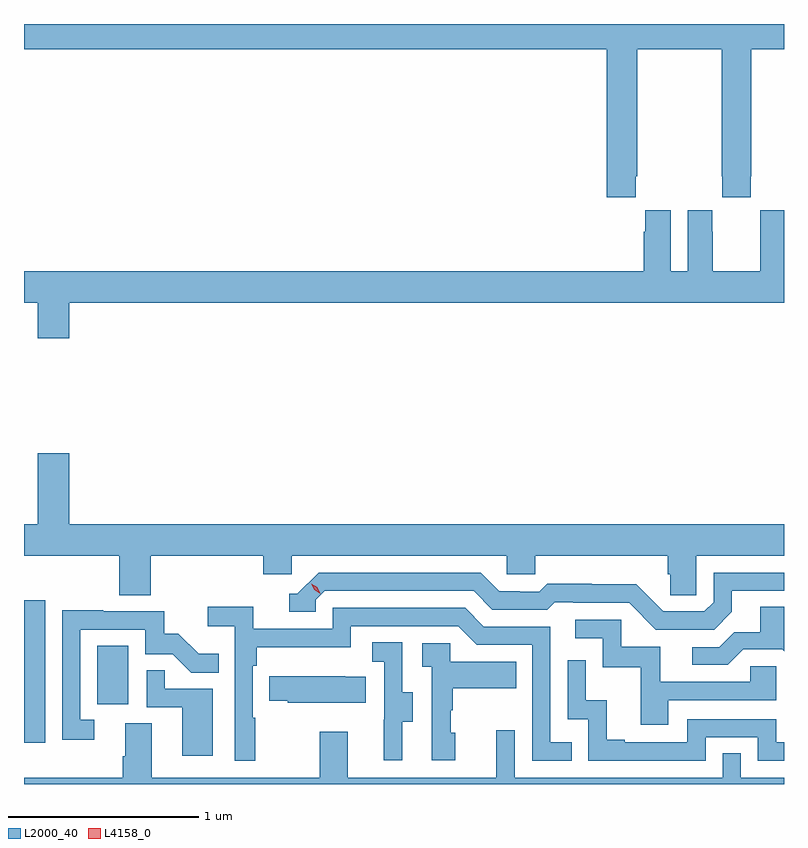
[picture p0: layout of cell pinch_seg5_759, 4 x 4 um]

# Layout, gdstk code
import gdstk
lib = gdstk.Library(unit=1e-6, precision=1e-09)
def R(c, l, rs):  # rectangles x0, y0, x1, y1
    for r in rs: c.add(gdstk.rectangle(r[:2], r[2:], *l))
def P(c, l, *ps):  # polygons
    for p in ps: c.add(gdstk.Polygon(p, *l))
L2000_40 = (2000, 40)
L4158_0 = (4158, 0)

pinch_seg5_759 = lib.new_cell('pinch_seg5_759')
R(pinch_seg5_759, L2000_40, [(836.263,907.722,836.374,908.473), (836.648,907.926,836.812,908.233)])
P(pinch_seg5_759, L2000_40, [(840.263,911.506),(836.263,911.506),(836.263,911.372),(839.33,911.372),(839.33,910.593),(839.483,910.593),(839.483,910.705),(839.49,910.705),(839.49,911.372),(839.935,911.372),(839.935,910.705),(839.937,910.705),(839.937,910.593),(840.087,910.593),(840.087,910.705),(840.09,910.705),(840.09,911.372),(840.263,911.372)],
  [(836.5,910.04),(840.263,910.04),(840.263,910.525),(840.138,910.525),(840.138,910.412),(840.137,910.412),(840.137,910.204),(839.887,910.204),(839.887,910.412),(839.886,910.412),(839.886,910.525),(839.756,910.525),(839.756,910.204),(839.668,910.204),(839.668,910.525),(839.534,910.525),(839.534,910.412),(839.525,910.412),(839.525,910.204),(836.263,910.204),(836.263,910.04),(836.336,910.04),(836.336,909.852),(836.5,909.852)],
  [(836.93,908.708),(837.521,908.708),(837.521,908.61),(837.672,908.61),(837.672,908.708),(838.803,908.708),(838.803,908.61),(838.953,908.61),(838.953,908.708),(839.651,908.708),(839.651,908.61),(839.665,908.61),(839.665,908.5),(839.802,908.5),(839.802,908.708),(840.263,908.708),(840.263,908.872),(836.5,908.872),(836.5,909.247),(836.336,909.247),(836.336,908.872),(836.263,908.872),(836.263,908.708),(836.765,908.708),(836.765,908.5),(836.93,908.5)],
  [(839.989,908.413),(839.989,908.523),(840.263,908.523),(840.263,908.619),(839.892,908.619),(839.892,908.463),(839.844,908.415),(839.628,908.415),(839.486,908.557),(839.25,908.557),(839.25,908.56),(839.017,908.56),(838.975,908.517),(838.872,908.517),(838.872,908.52),(838.765,908.52),(838.666,908.619),(837.813,908.619),(837.702,908.508),(837.659,908.508),(837.659,908.412),(837.798,908.412),(837.798,908.475),(837.846,908.523),(838.629,908.523),(838.728,908.424),(839.017,908.424),(839.056,908.463),(839.155,908.463),(839.155,908.46),(839.448,908.46),(839.589,908.319),(839.895,908.319)],
  [(837.481,907.856),(837.468,907.856),(837.468,908.129),(837.488,908.129),(837.488,908.225),(837.984,908.225),(837.984,908.337),(838.548,908.337),(838.647,908.238),(838.938,908.238),(838.938,907.629),(839.147,907.629),(839.147,907.725),(839.034,907.725),(839.034,908.334),(838.684,908.334),(838.585,908.433),(837.888,908.433),(837.888,908.322),(837.47,908.322),(837.47,908.438),(837.231,908.438),(837.231,908.336),(837.372,908.336),(837.372,907.629),(837.481,907.629)],
  [(840.049,908.214),(840.255,908.214),(840.263,908.206),(840.263,908.438),(840.137,908.438),(840.137,908.306),(840.002,908.306),(839.922,908.226),(839.781,908.226),(839.781,908.133),(839.968,908.133)],
  [(836.632,907.845),(836.559,907.845),(836.559,908.319),(836.901,908.319),(836.901,908.19),(837.046,908.19),(837.144,908.092),(837.287,908.092),(837.287,908.191),(837.183,908.191),(837.076,908.298),(837,908.298),(837,908.415),(836.681,908.415),(836.681,908.42),(836.463,908.42),(836.463,907.74),(836.632,907.74)],
  [(839.653,907.947),(840.222,907.947),(840.222,908.127),(840.085,908.127),(840.085,908.043),(839.611,908.043),(839.611,908.229),(839.406,908.229),(839.406,908.37),(839.163,908.37),(839.163,908.274),(839.31,908.274),(839.31,908.121),(839.509,908.121),(839.509,907.818),(839.653,907.818)],
  [(838.255,907.834),(838.309,907.834),(838.309,907.989),(838.254,907.989),(838.254,908.252),(838.095,908.252),(838.095,908.149),(838.158,908.149),(838.158,907.845),(838.157,907.845),(838.157,907.632),(838.255,907.632)],
  [(838.534,907.776),(838.509,907.776),(838.509,907.895),(838.519,907.895),(838.519,908.009),(838.853,908.009),(838.853,908.149),(838.506,908.149),(838.506,908.247),(838.359,908.247),(838.359,908.123),(838.41,908.123),(838.41,907.632),(838.534,907.632)],
  [(839.85,907.752),(840.126,907.752),(840.126,907.629),(840.263,907.629),(840.263,907.725),(840.222,907.725),(840.222,907.848),(839.754,907.848),(839.754,907.725),(839.425,907.725),(839.425,907.738),(839.33,907.738),(839.33,907.946),(839.22,907.946),(839.22,908.158),(839.124,908.158),(839.124,907.848),(839.232,907.848),(839.232,907.629),(839.85,907.629)],
  [(837.256,908.007),(837.005,908.007),(837.005,908.105),(836.91,908.105),(836.91,907.911),(837.095,907.911),(837.095,907.656),(837.256,907.656)],
  [(838.061,908.071),(837.953,908.071),(837.953,908.074),(837.553,908.074),(837.553,907.945),(837.651,907.945),(837.651,907.934),(838.061,907.934)],
  [(840.263,907.54),(840.036,907.54),(840.036,907.667),(839.94,907.667),(839.94,907.54),(838.845,907.54),(838.845,907.789),(838.748,907.789),(838.748,907.54),(837.967,907.54),(837.967,907.78),(837.82,907.78),(837.82,907.54),(836.935,907.54),(836.935,907.826),(836.795,907.826),(836.795,907.652),(836.783,907.652),(836.783,907.54),(836.263,907.54),(836.263,907.506),(840.263,907.506)])
P(pinch_seg5_759, L4158_0, [(837.821,908.508),(837.791,908.528),(837.775,908.561),(837.775,908.561),(837.775,908.561),(837.806,908.541),(837.821,908.509),(837.821,908.508)])

lib.write_gds('pinch_seg5_759.gds')
